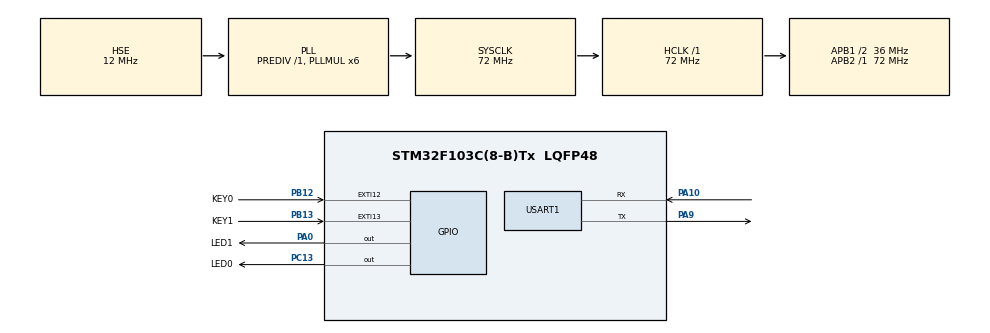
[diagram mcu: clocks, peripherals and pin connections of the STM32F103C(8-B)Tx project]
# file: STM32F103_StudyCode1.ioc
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Mcu.Family=STM32F1
Mcu.Name=STM32F103C(8-B)Tx
Mcu.Package=LQFP48
NVIC.EXTI15_10_IRQn=true\:0\:0\:false\:false\:true\:true\:true\:true
NVIC.PriorityGroup=NVIC_PRIORITYGROUP_4
NVIC.TIM2_IRQn=true\:0\:0\:false\:false\:true\:true\:true\:true
PA0-WKUP.GPIO_Label=LED1
PA0-WKUP.GPIO_PuPd=GPIO_PULLUP
PA0-WKUP.PinState=GPIO_PIN_SET
PA0-WKUP.Signal=GPIO_Output
PA10.Mode=Asynchronous
PA10.Signal=USART1_RX
PA9.Mode=Asynchronous
PA9.Signal=USART1_TX
PB12.GPIO_Label=KEY0
PB12.GPIO_ModeDefaultEXTI=GPIO_MODE_IT_FALLING
PB12.Signal=GPXTI12
PB13.GPIO_Label=KEY1
PB13.GPIO_ModeDefaultEXTI=GPIO_MODE_IT_FALLING
PB13.Signal=GPXTI13
PC13-TAMPER-RTC.GPIO_Label=LED0
PC13-TAMPER-RTC.GPIO_PuPd=GPIO_PULLUP
PC13-TAMPER-RTC.PinState=GPIO_PIN_SET
PC13-TAMPER-RTC.Signal=GPIO_Output
PD0-OSC_IN.Mode=HSE-External-Oscillator
PD0-OSC_IN.Signal=RCC_OSC_IN
PD1-OSC_OUT.Mode=HSE-External-Oscillator
PD1-OSC_OUT.Signal=RCC_OSC_OUT
ProjectManager.HeapSize=0x200
ProjectManager.StackSize=0x400
ProjectManager.TargetToolchain=STM32CubeIDE
RCC.AHBFreq_Value=72000000
RCC.APB1CLKDivider=RCC_HCLK_DIV2
RCC.APB1Freq_Value=36000000
RCC.APB1TimFreq_Value=72000000
RCC.APB2Freq_Value=72000000
RCC.APB2TimFreq_Value=72000000
RCC.EnbaleCSS=true
RCC.HCLKFreq_Value=72000000
RCC.HSE_VALUE=12000000
RCC.PLLMUL=RCC_PLL_MUL6
RCC.PLLSourceVirtual=RCC_PLLSOURCE_HSE
RCC.SYSCLKFreq_VALUE=72000000
RCC.SYSCLKSource=RCC_SYSCLKSOURCE_PLLCLK
RCC.USBFreq_Value=72000000
TIM2.Period=999
TIM2.Prescaler=7199
USART1.VirtualMode=VM_ASYNC
VP_SYS_VS_ND.Mode=No_Debug
VP_TIM2_VS_ClockSourceINT.Mode=Internal
board=custom

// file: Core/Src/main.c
/* USER CODE BEGIN Header */
/**
  ******************************************************************************
  * @file           : main.c
  * @brief          : Main program body
  ******************************************************************************
  * @attention
  *
  * Copyright (c) 2023 STMicroelectronics.
  * All rights reserved.
  *
  * This software is licensed under terms that can be found in the LICENSE file
  * in the root directory of this software component.
  * If no LICENSE file comes with this software, it is provided AS-IS.
  *
  ******************************************************************************
  */
/* USER CODE END Header */
#include "main.h"
#include "tim.h"
#include "usart.h"
#include "gpio.h"

/* USER CODE BEGIN PV */
uint8_t presstime = 1;
uint8_t key_press_flag = 0;
uint8_t tim_init_flag = 0;
uint8_t str[13] = "Mode1 100ms\n";
/* USER CODE END PV */

void SystemClock_Config(void);

/* USER CODE BEGIN PFP */
/*重写按键外部中断函数*/
void HAL_GPIO_EXTI_Callback(uint16_t GPIO_Pin) {
    if (key_press_flag == 0) {
        key_press_flag = 1;
        tim_init_flag = 0;
        /*修改标志位*/
        HAL_GPIO_TogglePin(LED0_GPIO_Port, LED0_Pin);
        /*亮灯表示开始按键外部中断处理*/
    }
}

/*重写定时器回调函数*/
void HAL_TIM_PeriodElapsedCallback(TIM_HandleTypeDef *htim) {
    if (htim == &htim2) {
        HAL_UART_Transmit(&huart1, str, 13, 100);
        /*发送数据包*/
        HAL_GPIO_TogglePin(LED1_GPIO_Port, LED1_Pin);
        /*led1闪烁体现定时器频率变化*/
    }
}
/* USER CODE END PFP */

int main(void) {

    /* MCU Configuration--------------------------------------------------------*/

    /* Reset of all peripherals, Initializes the Flash interface and the Systick. */
    HAL_Init();

    /* Configure the system clock */
    SystemClock_Config();

    /* Initialize all configured peripherals */
    MX_GPIO_Init();
    MX_USART1_UART_Init();
    MX_TIM2_Init();
    /* USER CODE BEGIN 2 */
    HAL_TIM_Base_Start_IT(&htim2);
    /*开启定时器中断*/
    /* USER CODE END 2 */

    /* Infinite loop */
    while (1) {

        /* USER CODE BEGIN 3 */
        if (key_press_flag == 1) {
            HAL_Delay(50);
            /*按键消抖*/
            if (HAL_GPIO_ReadPin(KEY0_GPIO_Port, KEY0_Pin) == RESET) {
                /*KEY0按键减小定时器频率*/
                if (presstime < 9) {
                    presstime++;
                }
            }
            if (HAL_GPIO_ReadPin(KEY1_GPIO_Port, KEY1_Pin) == RESET) {
                /*KEY1按键增加定时器频率*/
                if (presstime > 1) {
                    presstime--;
                }
            }
            key_press_flag = 0;
            /*修改按键按压标志位*/
            HAL_GPIO_TogglePin(LED0_GPIO_Port, LED0_Pin);
            /*回应按键中断的引脚电平转换,对外显示为led0的闪烁,闪烁结束即表示按键处理完成*/
        }
        if (key_press_flag == 0 && tim_init_flag == 0) {
            /*判断标志位,只有当按键中断第一次处理完成之后才能进行定时器的重新配置*/
            /**
             * 以下为重新配置定时器的函数
             * */
            HAL_TIM_Base_Stop(&htim2);
            /*先停止定时器*/
            autoreload = (1000 * presstime) - 1;
            htim2.Init.Period = autoreload;
            /*计算新的重载值*/
            HAL_TIM_Base_Init(&htim2);
            /*重新初始化定时器*/
            HAL_TIM_Base_Start_IT(&htim2);
            /*开始定时器*/
            str[4] = str[6] = presstime + 48;
            /*修改串口发送数据包*/
            tim_init_flag = 1;
            /*修改标志位*/
        }
    }
    /* USER CODE END 3 */
}

void SystemClock_Config(void) {
    RCC_OscInitTypeDef RCC_OscInitStruct = {0};
    RCC_ClkInitTypeDef RCC_ClkInitStruct = {0};

    /** Initializes the RCC Oscillators according to the specified parameters
    * in the RCC_OscInitTypeDef structure.
    */
    RCC_OscInitStruct.OscillatorType = RCC_OSCILLATORTYPE_HSE;
    RCC_OscInitStruct.HSEState = RCC_HSE_ON;
    RCC_OscInitStruct.HSEPredivValue = RCC_HSE_PREDIV_DIV1;
    RCC_OscInitStruct.HSIState = RCC_HSI_ON;
    RCC_OscInitStruct.PLL.PLLState = RCC_PLL_ON;
    RCC_OscInitStruct.PLL.PLLSource = RCC_PLLSOURCE_HSE;
    RCC_OscInitStruct.PLL.PLLMUL = RCC_PLL_MUL6;
    if (HAL_RCC_OscConfig(&RCC_OscInitStruct) != HAL_OK) {
        Error_Handler();
    }

    /** Initializes the CPU, AHB and APB buses clocks
    */
    RCC_ClkInitStruct.ClockType = RCC_CLOCKTYPE_HCLK | RCC_CLOCKTYPE_SYSCLK
                                  | RCC_CLOCKTYPE_PCLK1 | RCC_CLOCKTYPE_PCLK2;
    RCC_ClkInitStruct.SYSCLKSource = RCC_SYSCLKSOURCE_PLLCLK;
    RCC_ClkInitStruct.AHBCLKDivider = RCC_SYSCLK_DIV1;
    RCC_ClkInitStruct.APB1CLKDivider = RCC_HCLK_DIV2;
    RCC_ClkInitStruct.APB2CLKDivider = RCC_HCLK_DIV1;

    if (HAL_RCC_ClockConfig(&RCC_ClkInitStruct, FLASH_LATENCY_2) != HAL_OK) {
        Error_Handler();
    }

    /** Enables the Clock Security System
    */
    HAL_RCC_EnableCSS();
}

void Error_Handler(void) {
    __disable_irq();
    while (1) {
    }
}
